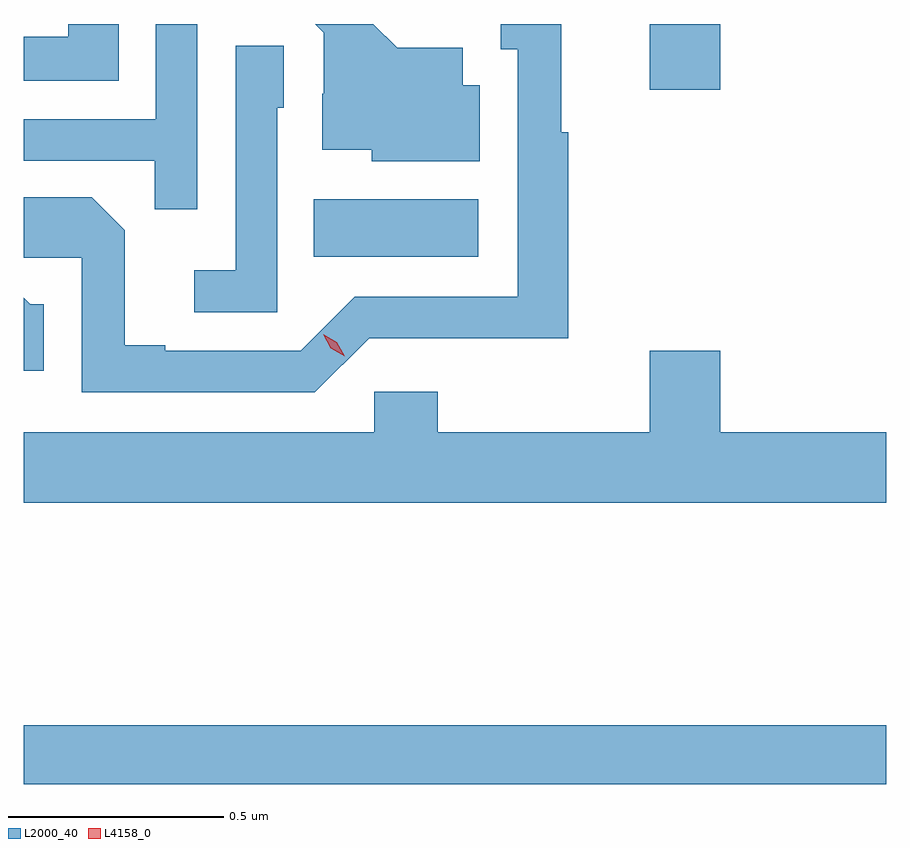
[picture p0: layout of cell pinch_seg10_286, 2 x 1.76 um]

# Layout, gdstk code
import gdstk
lib = gdstk.Library(unit=1e-6, precision=1e-09)
def R(c, l, rs):  # rectangles x0, y0, x1, y1
    for r in rs: c.add(gdstk.rectangle(r[:2], r[2:], *l))
def P(c, l, *ps):  # polygons
    for p in ps: c.add(gdstk.Polygon(p, *l))
L2000_40 = (2000, 40)
L4158_0 = (4158, 0)

pinch_seg10_286 = lib.new_cell('pinch_seg10_286')
R(pinch_seg10_286, L2000_40, [(511.209,1293.004,513.209,1293.14), (511.882,1294.226,512.263,1294.36), (512.66,1294.614,512.824,1294.766)])
P(pinch_seg10_286, L2000_40, [(511.611,1294.766),(511.515,1294.766),(511.515,1294.545),(511.209,1294.545),(511.209,1294.449),(511.513,1294.449),(511.513,1294.336),(511.611,1294.336)],
  [(512.266,1294.624),(512.227,1294.624),(512.227,1294.711),(512.075,1294.711),(512.02,1294.766),(511.885,1294.766),(511.905,1294.746),(511.905,1294.604),(511.901,1294.604),(511.901,1294.475),(512.016,1294.475),(512.016,1294.448),(512.266,1294.448)],
  [(512.01,1294.038),(512.232,1294.038),(512.232,1294.037),(512.472,1294.037),(512.472,1294.515),(512.455,1294.515),(512.455,1294.766),(512.315,1294.766),(512.315,1294.707),(512.354,1294.707),(512.354,1294.134),(511.977,1294.134),(511.851,1294.008),(511.537,1294.008),(511.537,1294.021),(511.443,1294.021),(511.443,1294.288),(511.367,1294.364),(511.209,1294.364),(511.209,1294.224),(511.344,1294.224),(511.344,1293.912),(511.884,1293.912)],
  [(511.43,1294.766),(511.312,1294.766),(511.312,1294.736),(511.209,1294.736),(511.209,1294.635),(511.43,1294.635)],
  [(511.797,1294.572),(511.812,1294.572),(511.812,1294.715),(511.701,1294.715),(511.701,1294.195),(511.605,1294.195),(511.605,1294.098),(511.797,1294.098)],
  [(511.255,1294.116),(511.224,1294.116),(511.209,1294.131),(511.209,1293.962),(511.255,1293.962)],
  [(513.209,1293.82),(512.824,1293.82),(512.824,1294.009),(512.66,1294.009),(512.66,1293.82),(512.169,1293.82),(512.169,1293.913),(512.022,1293.913),(512.022,1293.82),(511.209,1293.82),(511.209,1293.656),(513.209,1293.656)])
P(pinch_seg10_286, L4158_0, [(511.953,1293.996),(511.921,1294.014),(511.903,1294.047),(511.903,1294.047),(511.904,1294.047),(511.935,1294.028),(511.953,1293.996),(511.953,1293.996)])

lib.write_gds('pinch_seg10_286.gds')
